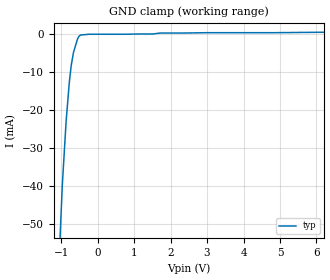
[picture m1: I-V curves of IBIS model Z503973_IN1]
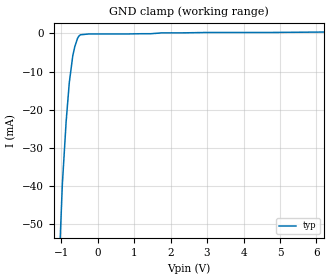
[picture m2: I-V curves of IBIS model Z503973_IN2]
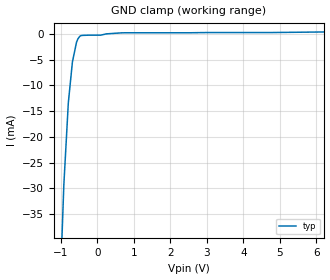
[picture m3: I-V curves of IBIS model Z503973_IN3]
| YOU ARE ONLY AUTHORIZED TO USE THIS SOFTWARE
| ACCORDING TO LICENSOR'S LICENSE RESTRICTIONS.
[IBIS Ver] 3.1
[File Name] mc74f161ad.ibs
[File Rev] 2.0
[Source] Measured and created by ICX Technology
[Date] Friday 7/14/00 9:08:04 AM
[Copyright]
| (C) COPYRIGHT 1993-2000
| MENTOR GRAPHICS CORPORATION
| ICX STANDARD LIBRARY, ICX PROJECT MODELING,
| ICX CUSTOM MODELING, ICX VENDOR MODEL
| ALL RIGHTS RESERVED.
| THE FOLLOWING ARE TRADEMARKS OR SERVICE MARKS OF
| MENTOR GRAPHICS CORPORATION:ICX (R), ICX STANDARD
| LIBRARY(R), ICX PROJECT MODELING(R), ICX CUSTOM
| MODELING(R), qualityIBIS(TM), MODELVIEWER(TM),
| AND MODELEDITOR(TM)
| ALL COPIES OF SOFTWARE, INCLUDING BUT NOT LIMITED TO
| ANY MODIFICATIONS, ENHANCEMENTS OR DERIVATIVE WORKS,
| MUST CONTAIN ALL MENTOR GRAPHICS CORPORATION'S
| NOTICES AND LEGENDS, INCLUDING THOSE EMBEDDED IN
| SOFTWARE AND THOSE AFFIXED TO SOFTWARE MEDIUM
| AND CONTAINER, AS RECEIVED FROM MENTOR GRAPHICS
| CORPORATION.
|  ZAP Model Builder 2.7
[Component] MC74F161AD
[Manufacturer] OnSemiconductor
[Package]
| variable   typ   min   max
R_pkg  .156ohms NA NA
L_pkg  3.148nH NA NA
C_pkg  .388pF NA NA
[Pin] signal_name  model_name  R_pin  L_pin C_pin
1 _M_R Z503973_IN1 .162 3.798n .418p
2 CP Z503973_IN2 .158 3.358n .398p
3 D0 Z503973_IN3 .154 2.928n .378p
4 D1 Z503973_IN3 .15 2.508n .358p
5 D2 Z503973_IN3 .15 2.508n .358p
6 D3 Z503973_IN3 .154 2.928n .378p
7 CEP Z503973_IN4 .158 3.358n .398p
8 GND GND .162 3.798n .418p
9 _P_E Z503973_IN5 .162 3.798n .418p
10 CET Z503973_IN6 .158 3.358n .398p
11 Q3 Z503973_OUT7 .154 2.928n .378p
12 Q2 Z503973_OUT7 .15 2.508n .358p
13 Q1 Z503973_OUT7 .15 2.508n .358p
14 Q0 Z503973_OUT7 .154 2.928n .378p
15 TC Z503973_OUT8 .158 3.358n .398p
16 Vcc POWER .162 3.798n .418p
| Models and submodels in the file (8): Z503973_IN1 (Input), Z503973_IN2 (Input), Z503973_IN3 (Input), Z503973_IN4 (Input), Z503973_IN5 (Input), Z503973_IN6 (Input), Z503973_OUT7 (Output), Z503973_OUT8 (Output)
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| (C) COPYRIGHT 1993-2000
| MENTOR GRAPHICS CORPORATION
| ICX STANDARD LIBRARY, ICX PROJECT MODELING,
| ICX CUSTOM MODELING, ICX VENDOR MODEL
| ALL RIGHTS RESERVED.
| THE FOLLOWING ARE TRADEMARKS OR SERVICE MARKS OF
| MENTOR GRAPHICS CORPORATION:ICX (R), ICX STANDARD
| LIBRARY(R), ICX PROJECT MODELING(R), ICX CUSTOM
| MODELING(R), qualityIBIS(TM), MODELVIEWER(TM),
| AND MODELEDITOR(TM)
| ALL COPIES OF SOFTWARE, INCLUDING BUT NOT LIMITED TO
| ANY MODIFICATIONS, ENHANCEMENTS OR DERIVATIVE WORKS,
| MUST CONTAIN ALL MENTOR GRAPHICS CORPORATION'S
| NOTICES AND LEGENDS, INCLUDING THOSE EMBEDDED IN
| SOFTWARE AND THOSE AFFIXED TO SOFTWARE MEDIUM
| AND CONTAINER, AS RECEIVED FROM MENTOR GRAPHICS
| CORPORATION.
| Model Application Version 1.89 2/18/99.
[Model] Z503973_IN1
Model_type Input
Vinl = 800.0mV
Vinh = 2.000V
C_comp 4.000pF NA NA
| variable typ   min   max
[Voltage Range] 5.000V NA NA
[GND Clamp Reference] 0.000V NA NA
[POWER Clamp Reference] 5.000V NA NA
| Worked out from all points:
|   GND clamp passes 1 mA (typ) near -0.53 V on its own axis
[GND Clamp]
-5V       -1.512A    NA         NA
-1.079V   -64.86mA   NA         NA
-966.7mV  -39.7mA    NA         NA
-862mV    -22.88mA   NA         NA
-775.8mV  -12.81mA   NA         NA
-722.6mV  -8.316mA   NA         NA
-662.9mV  -5.015mA   NA         NA
-549mV    -1.336mA   NA         NA
-468.7mV  -357.8uA   NA         NA
1.526V    -79.19uA   NA         NA
1.723V    168uA      NA         NA
10V       708.3uA    NA         NA
[POWER Clamp]
-5V       0A         NA         NA
10V       0A         NA         NA
| (C) COPYRIGHT 1993-2000
| MENTOR GRAPHICS CORPORATION
| ICX STANDARD LIBRARY, ICX PROJECT MODELING,
| ICX CUSTOM MODELING, ICX VENDOR MODEL
| ALL RIGHTS RESERVED.
| THE FOLLOWING ARE TRADEMARKS OR SERVICE MARKS OF
| MENTOR GRAPHICS CORPORATION:ICX (R), ICX STANDARD
| LIBRARY(R), ICX PROJECT MODELING(R), ICX CUSTOM
| MODELING(R), qualityIBIS(TM), MODELVIEWER(TM),
| AND MODELEDITOR(TM)
| ALL COPIES OF SOFTWARE, INCLUDING BUT NOT LIMITED TO
| ANY MODIFICATIONS, ENHANCEMENTS OR DERIVATIVE WORKS,
| MUST CONTAIN ALL MENTOR GRAPHICS CORPORATION'S
| NOTICES AND LEGENDS, INCLUDING THOSE EMBEDDED IN
| SOFTWARE AND THOSE AFFIXED TO SOFTWARE MEDIUM
| AND CONTAINER, AS RECEIVED FROM MENTOR GRAPHICS
| CORPORATION.
| Model Application Version 1.89 2/18/99.
[Model] Z503973_IN2
Model_type Input
Vinl = 800.0mV
Vinh = 2.000V
C_comp 4.000pF NA NA
| variable typ   min   max
[Voltage Range] 5.000V NA NA
[GND Clamp Reference] 0.000V NA NA
[POWER Clamp Reference] 5.000V NA NA
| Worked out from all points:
|   GND clamp passes 1 mA (typ) near -0.53 V on its own axis
[GND Clamp]
-5V       -1.513A    NA         NA
-1.139V   -81.54mA   NA         NA
-966.8mV  -39.67mA   NA         NA
-861.7mV  -23.02mA   NA         NA
-775.9mV  -12.89mA   NA         NA
-681.2mV  -5.906mA   NA         NA
-625mV    -3.463mA   NA         NA
-549.4mV  -1.26mA    NA         NA
-468.7mV  -344.2uA   NA         NA
1.465V    -70.64uA   NA         NA
1.743V    157.6uA    NA         NA
10V       642.1uA    NA         NA
[POWER Clamp]
-5V       0A         NA         NA
10V       0A         NA         NA
| (C) COPYRIGHT 1993-2000
| MENTOR GRAPHICS CORPORATION
| ICX STANDARD LIBRARY, ICX PROJECT MODELING,
| ICX CUSTOM MODELING, ICX VENDOR MODEL
| ALL RIGHTS RESERVED.
| THE FOLLOWING ARE TRADEMARKS OR SERVICE MARKS OF
| MENTOR GRAPHICS CORPORATION:ICX (R), ICX STANDARD
| LIBRARY(R), ICX PROJECT MODELING(R), ICX CUSTOM
| MODELING(R), qualityIBIS(TM), MODELVIEWER(TM),
| AND MODELEDITOR(TM)
| ALL COPIES OF SOFTWARE, INCLUDING BUT NOT LIMITED TO
| ANY MODIFICATIONS, ENHANCEMENTS OR DERIVATIVE WORKS,
| MUST CONTAIN ALL MENTOR GRAPHICS CORPORATION'S
| NOTICES AND LEGENDS, INCLUDING THOSE EMBEDDED IN
| SOFTWARE AND THOSE AFFIXED TO SOFTWARE MEDIUM
| AND CONTAINER, AS RECEIVED FROM MENTOR GRAPHICS
| CORPORATION.
| Model Application Version 1.89 2/18/99.
[Model] Z503973_IN3
Model_type Input
Vinl = 800.0mV
Vinh = 2.000V
C_comp 4.000pF NA NA
| variable typ   min   max
[Voltage Range] 5.000V NA NA
[GND Clamp Reference] 0.000V NA NA
[POWER Clamp Reference] 5.000V NA NA
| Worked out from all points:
|   GND clamp passes 1 mA (typ) near -0.53 V on its own axis
[GND Clamp]
-5V       -1.582A    NA         NA
-1.015V   -48.77mA   NA         NA
-918mV    -29.36mA   NA         NA
-795.1mV  -13.41mA   NA         NA
-682.6mV  -5.451mA   NA         NA
-569mV    -1.594mA   NA         NA
-488.2mV  -544.2uA   NA         NA
-429.7mV  -306.2uA   NA         NA
95.47mV   -251.4uA   NA         NA
767.9mV   208.2uA    NA         NA
4.756V    251.3uA    NA         NA
10V       655.9uA    NA         NA
[POWER Clamp]
-5V       0A         NA         NA
10V       0A         NA         NA
